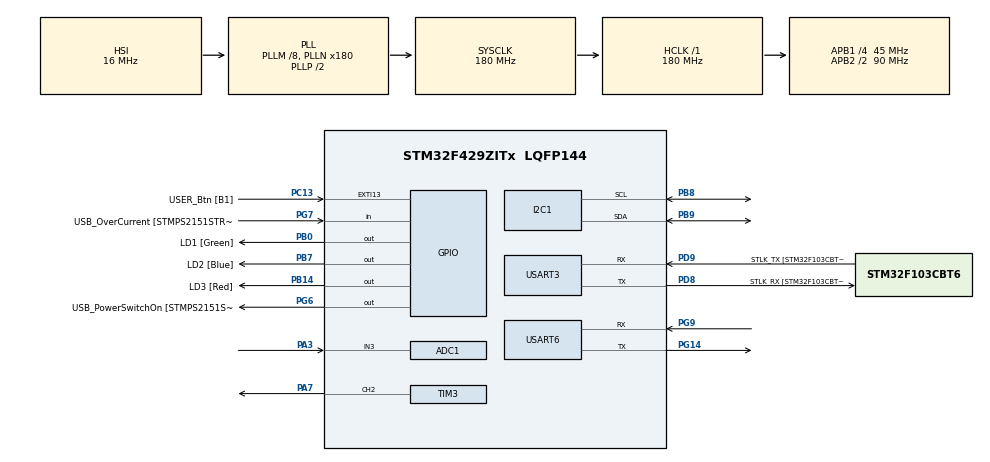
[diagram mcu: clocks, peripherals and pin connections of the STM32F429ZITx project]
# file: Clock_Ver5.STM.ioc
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ADC1.Channel-0\#ChannelRegularConversion=ADC_CHANNEL_3
ADC1.NbrOfConversionFlag=1
ADC1.Rank-0\#ChannelRegularConversion=1
ADC1.SamplingTime-0\#ChannelRegularConversion=ADC_SAMPLETIME_3CYCLES
ADC1.master=1
Mcu.Family=STM32F4
Mcu.Name=STM32F429ZITx
Mcu.Package=LQFP144
NVIC.EXTI15_10_IRQn=true\:0\:0\:false\:true\:true\:1\:true\:true\:true
NVIC.PriorityGroup=NVIC_PRIORITYGROUP_4
NVIC.TIM2_IRQn=true\:0\:0\:false\:true\:true\:2\:true\:true\:true
NVIC.TIM4_IRQn=true\:0\:0\:false\:true\:true\:3\:true\:true\:true
NVIC.USART3_IRQn=true\:0\:0\:false\:true\:true\:5\:true\:true\:true
NVIC.USART6_IRQn=true\:0\:0\:false\:true\:true\:4\:true\:true\:true
PA1.GPIO_Label=RMII_REF_CLK [LAN8742A-CZ-TR_REFCLK0]
PA1.Signal=ETH_REF_CLK
PA10.GPIO_Label=USB_ID
PA10.Signal=USB_OTG_FS_ID
PA11.GPIO_Label=USB_DM
PA11.Signal=USB_OTG_FS_DM
PA12.GPIO_Label=USB_DP
PA12.Signal=USB_OTG_FS_DP
PA13.GPIO_Label=TMS
PA13.Mode=Serial_Wire
PA13.Signal=SYS_JTMS-SWDIO
PA14.GPIO_Label=TCK
PA14.Mode=Serial_Wire
PA14.Signal=SYS_JTCK-SWCLK
PA2.GPIO_Label=RMII_MDIO [LAN8742A-CZ-TR_MDIO]
PA2.Signal=ETH_MDIO
PA3.Signal=ADCx_IN3
PA7.Signal=S_TIM3_CH2
PA8.GPIO_Label=USB_SOF [TP1]
PA8.Signal=USB_OTG_FS_SOF
PA9.GPIO_Label=USB_VBUS
PA9.Signal=USB_OTG_FS_VBUS
PB0.GPIO_Label=LD1 [Green]
PB0.Signal=GPIO_Output
PB13.GPIO_Label=RMII_TXD1 [LAN8742A-CZ-TR_TXD1]
PB13.Signal=ETH_TXD1
PB14.GPIO_Label=LD3 [Red]
PB14.Signal=GPIO_Output
PB7.GPIO_Label=LD2 [Blue]
PB7.Signal=GPIO_Output
PB8.GPIO_Pu=GPIO_PULLUP
PB8.Mode=I2C
PB8.Signal=I2C1_SCL
PB9.GPIO_Pu=GPIO_PULLUP
PB9.Mode=I2C
PB9.Signal=I2C1_SDA
PC1.GPIO_Label=RMII_MDC [LAN8742A-CZ-TR_MDC]
PC1.Signal=ETH_MDC
PC13.GPIO_Label=USER_Btn [B1]
PC13.Signal=GPXTI13
PC14/OSC32_IN.Mode=LSE-External-Oscillator
PC14/OSC32_IN.Signal=RCC_OSC32_IN
PC15/OSC32_OUT.Mode=LSE-External-Oscillator
PC15/OSC32_OUT.Signal=RCC_OSC32_OUT
PC4.GPIO_Label=RMII_RXD0 [LAN8742A-CZ-TR_RXD0]
PC4.Signal=ETH_RXD0
PC5.GPIO_Label=RMII_RXD1 [LAN8742A-CZ-TR_RXD1]
PC5.Signal=ETH_RXD1
PD8.GPIO_Label=STLK_RX [STM32F103CBT6_PA3]
PD8.Mode=Asynchronous
PD8.Signal=USART3_TX
PD9.GPIO_Label=STLK_TX [STM32F103CBT6_PA2]
PD9.Mode=Asynchronous
PD9.Signal=USART3_RX
PG11.GPIO_Label=RMII_TX_EN [LAN8742A-CZ-TR_TXEN]
PG11.Signal=ETH_TX_EN
PG13.GPIO_Label=RMII_TXD0 [LAN8742A-CZ-TR_TXD0]
PG13.Signal=ETH_TXD0
PG14.Mode=Asynchronous
PG14.Signal=USART6_TX
PG6.GPIO_Label=USB_PowerSwitchOn [STMPS2151STR_EN]
PG6.Signal=GPIO_Output
PG7.GPIO_Label=USB_OverCurrent [STMPS2151STR_FAULT]
PG7.Signal=GPIO_Input
PG9.Mode=Asynchronous
PG9.Signal=USART6_RX
PH0/OSC_IN.GPIO_Label=MCO [STM32F103CBT6_PA8]
PH0/OSC_IN.Mode=HSE-External-Clock-Source
PH0/OSC_IN.Signal=RCC_OSC_IN
PH1/OSC_OUT.Mode=HSE-External-Clock-Source
PH1/OSC_OUT.Signal=RCC_OSC_OUT
ProjectManager.HeapSize=0x200
ProjectManager.StackSize=0x400
ProjectManager.TargetToolchain=STM32CubeIDE
RCC.48MHZClocksFreq_Value=51428571.428571425
RCC.AHBFreq_Value=180000000
RCC.APB1CLKDivider=RCC_HCLK_DIV4
RCC.APB1Freq_Value=45000000
RCC.APB1TimFreq_Value=90000000
RCC.APB2CLKDivider=RCC_HCLK_DIV2
RCC.APB2Freq_Value=90000000
RCC.APB2TimCLKDivider=2
RCC.APB2TimFreq_Value=180000000
RCC.CortexFreq_Value=180000000
RCC.HCLKFreq_Value=180000000
RCC.HSE_VALUE=8000000
RCC.HSI_VALUE=16000000
RCC.PLLM=8
RCC.PLLMUL=RCC_PLL_MUL9
RCC.PLLN=180
RCC.PLLQ=7
RCC.PRESCALERUSB=RCC_USBCLKSOURCE_PLL_DIV1_5
RCC.RCC_RTC_Clock_Source=RCC_RTCCLKSOURCE_LSE
RCC.RCC_RTC_Clock_SourceVirtual=RCC_RTCCLKSOURCE_LSE
RCC.SYSCLKFreq_VALUE=180000000
RCC.SYSCLKSource=RCC_SYSCLKSOURCE_PLLCLK
RCC.SYSCLKSourceVirtual=RCC_SYSCLKSOURCE_PLLCLK
RCC.USBFreq_Value=48000000
RCC.VCOOutputFreq_Value=360000000
SH.ADCx_IN3.0=ADC1_IN3,IN3
SH.S_TIM3_CH2.0=TIM3_CH2,PWM Generation2 CH2
TIM2.Period=999
TIM2.Prescaler=899
TIM3.Channel-PWM\ Generation2\ CH2=TIM_CHANNEL_2
TIM3.Period=199
TIM3.Prescaler=89
TIM4.Period=199
TIM4.Prescaler=8999
USART3.VirtualMode=VM_ASYNC
USART6.VirtualMode=VM_ASYNC
VP_RTC_VS_RTC_Activate.Mode=RTC_Enabled
VP_TIM2_VS_ClockSourceINT.Mode=Internal
VP_TIM3_VS_ClockSourceINT.Mode=Internal
VP_TIM4_VS_ClockSourceINT.Mode=Internal
board=NUCLEO-F429ZI

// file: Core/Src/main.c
/* USER CODE BEGIN Header */
/**
  ******************************************************************************
  * @file           : main.c
  * @brief          : Main program body
  ******************************************************************************
  * @attention
  *
  * Copyright (c) 2022 STMicroelectronics.
  * All rights reserved.
  *
  * This software is licensed under terms that can be found in the LICENSE file
  * in the root directory of this software component.
  * If no LICENSE file comes with this software, it is provided AS-IS.
  *
  ******************************************************************************
  */
/* USER CODE END Header */
#include "main.h"
#include "adc.h"
#include "i2c.h"
#include "rtc.h"
#include "tim.h"
#include "usart.h"
#include "gpio.h"

/* USER CODE BEGIN Includes */
#include "lcd.h"
#include <string.h>
#include <stdio.h>
/* USER CODE END Includes */

/* USER CODE BEGIN PTD */
typedef struct{
	uint16_t music_scale;
	uint16_t note_duration;
}MelTypeDef;
/* USER CODE END PTD */

/* USER CODE BEGIN PD */
#define UP_KEY_MIN  0
#define UP_KEY_MAX 100

#define DOWN_KEY_MIN 800
#define DOWN_KEY_MAX 900

#define RIGHT_KEY_MIN 2900
#define RIGHT_KEY_MAX 3100

#define LEFT_KEY_MIN 1900
#define LEFT_KEY_MAX 2000

#define LONG_CLICK_MIN 1500
#define LONG_CLICK_MAX 5000

#define DOUBLE_CLICK_MIN 50
#define DOUBLE_CLICK_MAX 150

#define C	262
#define D	294
#define E	330
#define F	349
#define G	392
#define A	440
#define B	494
#define C1	523
#define D1	587
#define E1	659

#define MEL_NUM 55

enum CLOCK_MODE{
	NORMAL_STATE = 0,
	TIME_SETTING = 1,
	ALARM_TIME_SETTING = 2,
	MUSIC_SELECT = 3
};

enum CLOCK_BUTTON{
	NONE = 0,
	UP = 1,
	DOWN = 2,
	RIGHT = 3,
	LEFT = 4,
	SEL = 5
};

/*
MelTypeDef JackRabbit[MEL_NUM] = {
		(G, 2), (E, 1), (E, 1), (G, 1), (E, 1), (C, 2), // 6
        (D, 2), (E, 1), (D, 1), (C, 1), (E, 1), (G, 2), // 6
		(C1, 1), (G, 1), (C1, 1), (G, 1), (C1, 1), (G, 1), (E, 2), //7
		(G, 2), (D, 1), (F, 1), (E, 1), (D, 1), (C, 2)
};*/
MelTypeDef btype;
MelTypeDef ctype;

struct clock_state{
	enum CLOCK_MODE mode;
	enum CLOCK_BUTTON button;
	int8_t music_num;
};

struct clock_state current_state;

typedef struct {
	int8_t ampm;
	int8_t hours;
	int8_t minutes;
	int8_t seconds;
}TimeTypeDef;

TimeTypeDef ctime;  // current time
TimeTypeDef stime; // setting time
TimeTypeDef atime;  // alarm time

typedef struct {
  int8_t music_num;
  char music_title[16];
}MusicTypeDef;

MusicTypeDef alarm_music[] =
{
		{0,"Jack_Rabbit"},
		{1,"Carol_Jazz"},
		{2,"Big_Mac_Song"},
};

/* Base address of the Flash sectors Bank 1 */
#define ADDR_FLASH_SECTOR_0     ((uint32_t)0x08000000) /* Base @ of Sector 0, 16 Kbytes */
#define ADDR_FLASH_SECTOR_1     ((uint32_t)0x08004000) /* Base @ of Sector 1, 16 Kbytes */
#define ADDR_FLASH_SECTOR_2     ((uint32_t)0x08008000) /* Base @ of Sector 2, 16 Kbytes */
#define ADDR_FLASH_SECTOR_3     ((uint32_t)0x0800C000) /* Base @ of Sector 3, 16 Kbytes */
#define ADDR_FLASH_SECTOR_4     ((uint32_t)0x08010000) /* Base @ of Sector 4, 64 Kbytes */
#define ADDR_FLASH_SECTOR_5     ((uint32_t)0x08020000) /* Base @ of Sector 5, 128 Kbytes */
#define ADDR_FLASH_SECTOR_6     ((uint32_t)0x08040000) /* Base @ of Sector 6, 128 Kbytes */
#define ADDR_FLASH_SECTOR_7     ((uint32_t)0x08060000) /* Base @ of Sector 7, 128 Kbytes */
#define ADDR_FLASH_SECTOR_8     ((uint32_t)0x08080000) /* Base @ of Sector 8, 128 Kbytes */
#define ADDR_FLASH_SECTOR_9     ((uint32_t)0x080A0000) /* Base @ of Sector 9, 128 Kbytes */
#define ADDR_FLASH_SECTOR_10    ((uint32_t)0x080C0000) /* Base @ of Sector 10, 128 Kbytes */
#define ADDR_FLASH_SECTOR_11    ((uint32_t)0x080E0000) /* Base @ of Sector 11, 128 Kbytes */

/* Base address of the Flash sectors Bank 2 */
#define ADDR_FLASH_SECTOR_12     ((uint32_t)0x08100000) /* Base @ of Sector 0, 16 Kbytes */
#define ADDR_FLASH_SECTOR_13     ((uint32_t)0x08104000) /* Base @ of Sector 1, 16 Kbytes */
#define ADDR_FLASH_SECTOR_14     ((uint32_t)0x08108000) /* Base @ of Sector 2, 16 Kbytes */
#define ADDR_FLASH_SECTOR_15     ((uint32_t)0x0810C000) /* Base @ of Sector 3, 16 Kbytes */
#define ADDR_FLASH_SECTOR_16     ((uint32_t)0x08110000) /* Base @ of Sector 4, 64 Kbytes */
#define ADDR_FLASH_SECTOR_17     ((uint32_t)0x08120000) /* Base @ of Sector 5, 128 Kbytes */
#define ADDR_FLASH_SECTOR_18     ((uint32_t)0x08140000) /* Base @ of Sector 6, 128 Kbytes */
#define ADDR_FLASH_SECTOR_19     ((uint32_t)0x08160000) /* Base @ of Sector 7, 128 Kbytes */
#define ADDR_FLASH_SECTOR_20     ((uint32_t)0x08180000) /* Base @ of Sector 8, 128 Kbytes  */
#define ADDR_FLASH_SECTOR_21     ((uint32_t)0x081A0000) /* Base @ of Sector 9, 128 Kbytes  */
#define ADDR_FLASH_SECTOR_22     ((uint32_t)0x081C0000) /* Base @ of Sector 10, 128 Kbytes */
#define ADDR_FLASH_SECTOR_23     ((uint32_t)0x081E0000) /* Base @ of Sector 11, 128 Kbytes */

//#define MAGIC_NUM 0xdeadbeef

typedef struct {
  //uint32_t magic_num;
  TimeTypeDef setting_time;
  TimeTypeDef alarm_time;
  int8_t alarm_music_num;
}NVitemTypeDef;

typedef struct{
	int32_t time;
	GPIO_PinState level;
}ClickInfoDef;

ClickInfoDef click[3];

//#define nv_items  ((NVitemTypeDef *) ADDR_FLASH_SECTOR_3)

NVitemTypeDef default_nvitem =
{
  //MAGIC_NUM,
  {0, 0,0,0},
  {0, 0,0,0},
  0
};
/* USER CODE END PD */

/* USER CODE BEGIN PV */
//ADC_HandleTypeDef hadc1;
//RTC_HandleTypeDef hrtc;
//TIM_HandleTypeDef htim2;
//UART_HandleTypeDef huart6;
/* USER CODE END PV */

void SystemClock_Config(void);
static void MX_NVIC_Init(void);
/* USER CODE BEGIN PFP */
void time_display(void);
void music_select(char str[18]);
void adc_rcv(void);
void clock_set(TimeTypeDef * time);
void blink(TimeTypeDef * time, char str[18]);
void time_set(TimeTypeDef * time, char str[18]);
void flash_read(void);
HAL_StatusTypeDef flash_write1(uint32_t start, uint32_t end, TimeTypeDef * time);
HAL_StatusTypeDef flash_write2(uint32_t start, uint32_t end, uint16_t Melody[]);
static uint32_t GetSector(uint32_t Address);
static uint32_t GetSectorSize(uint32_t Sector);
/* USER CODE END PFP */

/* USER CODE BEGIN 0 */
uint8_t alFlag = 0, muFlag = 0;

HAL_StatusTypeDef flash_write1(uint32_t start, uint32_t end, TimeTypeDef * time)
{
	uint32_t FirstSector,NbOfSectors,SECTORError;
	FLASH_EraseInitTypeDef EraseInitStruct;
	HAL_StatusTypeDef error= HAL_OK;
    //uint8_t *ptr;
    //__IO uint32_t MemoryProgramStatus;

	HAL_FLASH_Unlock();
	FirstSector = GetSector(start);//ADDR_FLASH_SECTOR_3;
	NbOfSectors = GetSector(end) - FirstSector + 1;

	EraseInitStruct.TypeErase     = FLASH_TYPEERASE_SECTORS;
	EraseInitStruct.VoltageRange  = FLASH_VOLTAGE_RANGE_3;
	EraseInitStruct.Sector        = FirstSector;
	EraseInitStruct.NbSectors     = NbOfSectors;

	error = HAL_FLASHEx_Erase(&EraseInitStruct, &SECTORError);
	if(error != HAL_OK) return error;

	//if (current_state.mode == TIME_SETTING)
	//{
	//	HAL_FLASH_Program(FLASH_TYPEPROGRAM_WORD, start, time->ampm);
	//	HAL_FLASH_Program(FLASH_TYPEPROGRAM_WORD, start+4, time->hours);
	//	HAL_FLASH_Program(FLASH_TYPEPROGRAM_WORD, start+8, time->minutes);
	//	HAL_FLASH_Program(FLASH_TYPEPROGRAM_WORD, start+12, time->seconds);
	//}

	else if (current_state.mode == ALARM_TIME_SETTING)
	{
		HAL_FLASH_Program(FLASH_TYPEPROGRAM_BYTE, start+16, time->ampm);
		HAL_FLASH_Program(FLASH_TYPEPROGRAM_WORD, start+20, time->hours);
		HAL_FLASH_Program(FLASH_TYPEPROGRAM_WORD, start+24, time->minutes);
		HAL_FLASH_Program(FLASH_TYPEPROGRAM_WORD, start+28, time->seconds);
	}

	else
	{
		//HAL_FLASH_Program(FLASH_TYPEPROGRAM_WORD, start, time->ampm);
		//HAL_FLASH_Program(FLASH_TYPEPROGRAM_WORD, start+4, time->hours);
		//HAL_FLASH_Program(FLASH_TYPEPROGRAM_WORD, start+8, time->minutes);
		//HAL_FLASH_Program(FLASH_TYPEPROGRAM_WORD, start+12, time->seconds);
		HAL_FLASH_Program(FLASH_TYPEPROGRAM_WORD, start, default_nvitem.setting_time.ampm);
		HAL_FLASH_Program(FLASH_TYPEPROGRAM_WORD, start+4, default_nvitem.setting_time.hours);
		HAL_FLASH_Program(FLASH_TYPEPROGRAM_WORD, start+8, default_nvitem.setting_time.minutes);
		HAL_FLASH_Program(FLASH_TYPEPROGRAM_WORD, start+12, default_nvitem.setting_time.seconds);
	}

	HAL_FLASH_Lock();

	return 0;
}

HAL_StatusTypeDef flash_write2(uint32_t start, uint32_t end, uint16_t Melody[])
{
	uint32_t FirstSector,NbOfSectors,SECTORError;
	FLASH_EraseInitTypeDef EraseInitStruct;
	HAL_StatusTypeDef error= HAL_OK;

	HAL_FLASH_Unlock();
	FirstSector = GetSector(start);
	/* Get the number of sector to erase from 1st sector*/
	NbOfSectors =  1;
	/* Fill EraseInit structure*/
	EraseInitStruct.TypeErase     = FLASH_TYPEERASE_SECTORS;
	EraseInitStruct.VoltageRange  = FLASH_VOLTAGE_RANGE_3;
	EraseInitStruct.Sector        = FirstSector;
	EraseInitStruct.NbSectors     = NbOfSectors;

	error = HAL_FLASHEx_Erase(&EraseInitStruct, &SECTORError);
	if(error != HAL_OK) return error;

	for(int i = 0 ; Melody[i] != 0 ; i++)
	{
		HAL_FLASH_Program(FLASH_TYPEPROGRAM_WORD, start, Melody[i]);
		start += 4;
	}

	HAL_FLASH_Lock();

	return 0;
}

static uint32_t GetSector(uint32_t Address)
{
  uint32_t sector = 0;

  if((Address < ADDR_FLASH_SECTOR_1) && (Address >= ADDR_FLASH_SECTOR_0))
  {
    sector = FLASH_SECTOR_0;
  }
  else if((Address < ADDR_FLASH_SECTOR_2) && (Address >= ADDR_FLASH_SECTOR_1))
  {
    sector = FLASH_SECTOR_1;
  }
  else if((Address < ADDR_FLASH_SECTOR_3) && (Address >= ADDR_FLASH_SECTOR_2))
  {
    sector = FLASH_SECTOR_2;
  }
  else if((Address < ADDR_FLASH_SECTOR_4) && (Address >= ADDR_FLASH_SECTOR_3))
  {
    sector = FLASH_SECTOR_3;
  }
  else if((Address < ADDR_FLASH_SECTOR_5) && (Address >= ADDR_FLASH_SECTOR_4))
  {
    sector = FLASH_SECTOR_4;
  }
  else if((Address < ADDR_FLASH_SECTOR_6) && (Address >= ADDR_FLASH_SECTOR_5))
  {
    sector = FLASH_SECTOR_5;
  }
  else if((Address < ADDR_FLASH_SECTOR_7) && (Address >= ADDR_FLASH_SECTOR_6))
  {
    sector = FLASH_SECTOR_6;
  }
  else if((Address < ADDR_FLASH_SECTOR_8) && (Address >= ADDR_FLASH_SECTOR_7))
  {
    sector = FLASH_SECTOR_7;
  }
  else if((Address < ADDR_FLASH_SECTOR_9) && (Address >= ADDR_FLASH_SECTOR_8))
  {
    sector = FLASH_SECTOR_8;
  }
  else if((Address < ADDR_FLASH_SECTOR_10) && (Address >= ADDR_FLASH_SECTOR_9))
  {
    sector = FLASH_SECTOR_9;
  }
  else if((Address < ADDR_FLASH_SECTOR_11) && (Address >= ADDR_FLASH_SECTOR_10))
  {
    sector = FLASH_SECTOR_10;
  }
  else if((Address < ADDR_FLASH_SECTOR_12) && (Address >= ADDR_FLASH_SECTOR_11))
  {
    sector = FLASH_SECTOR_11;
  }
  else if((Address < ADDR_FLASH_SECTOR_13) && (Address >= ADDR_FLASH_SECTOR_12))
  {
    sector = FLASH_SECTOR_12;
  }
  else if((Address < ADDR_FLASH_SECTOR_14) && (Address >= ADDR_FLASH_SECTOR_13))
  {
    sector = FLASH_SECTOR_13;
  }
  else if((Address < ADDR_FLASH_SECTOR_15) && (Address >= ADDR_FLASH_SECTOR_14))
  {
    sector = FLASH_SECTOR_14;
  }
  else if((Address < ADDR_FLASH_SECTOR_16) && (Address >= ADDR_FLASH_SECTOR_15))
  {
    sector = FLASH_SECTOR_15;
  }
  else if((Address < ADDR_FLASH_SECTOR_17) && (Address >= ADDR_FLASH_SECTOR_16))
  {
    sector = FLASH_SECTOR_16;
  }
  else if((Address < ADDR_FLASH_SECTOR_18) && (Address >= ADDR_FLASH_SECTOR_17))
  {
    sector = FLASH_SECTOR_17;
  }
  else if((Address < ADDR_FLASH_SECTOR_19) && (Address >= ADDR_FLASH_SECTOR_18))
  {
    sector = FLASH_SECTOR_18;
  }
  else if((Address < ADDR_FLASH_SECTOR_20) && (Address >= ADDR_FLASH_SECTOR_19))
  {
    sector = FLASH_SECTOR_19;
  }
  else if((Address < ADDR_FLASH_SECTOR_21) && (Address >= ADDR_FLASH_SECTOR_20))
  {
    sector = FLASH_SECTOR_20;
  }
  else if((Address < ADDR_FLASH_SECTOR_22) && (Address >= ADDR_FLASH_SECTOR_21))
  {
    sector = FLASH_SECTOR_21;
  }
  else if((Address < ADDR_FLASH_SECTOR_23) && (Address >= ADDR_FLASH_SECTOR_22))
  {
    sector = FLASH_SECTOR_22;
  }
  else /* (Address < FLASH_END_ADDR) && (Address >= ADDR_FLASH_SECTOR_23) */
  {
    sector = FLASH_SECTOR_23;
  }
  return sector;
}

/**
  * @brief  Gets sector Size
  * @param  None
  * @retval The size of a given sector
  */
static uint32_t GetSectorSize(uint32_t Sector)
{
  uint32_t sectorsize = 0x00;
  if((Sector == FLASH_SECTOR_0) || (Sector == FLASH_SECTOR_1) || (Sector == FLASH_SECTOR_2) ||\
     (Sector == FLASH_SECTOR_3) || (Sector == FLASH_SECTOR_12) || (Sector == FLASH_SECTOR_13) ||\
     (Sector == FLASH_SECTOR_14) || (Sector == FLASH_SECTOR_15))
  {
    sectorsize = 16 * 1024;
  }
  else if((Sector == FLASH_SECTOR_4) || (Sector == FLASH_SECTOR_16))
  {
    sectorsize = 64 * 1024;
  }
  else
  {
    sectorsize = 128 * 1024;
  }
  return sectorsize;
}

volatile int timer_count,second,minute,hour,old_count;
char line[2][18], time_str[16];
uint32_t adc_value;
uint8_t btn_value;
volatile static uint8_t pos;
char uart_buf[30];

void clock_set(TimeTypeDef * time)
{
	if(time->seconds>=60)
	{
		time->minutes++;
		time->seconds = 0;
	}

	else if(time->minutes>=60)
	{
		time->hours++;
		time->minutes = 0;
	}

	else if(time->hours==13)
	{
		time->hours = 1;
		if (time->ampm == 0) time->ampm++;
		else if (time->ampm == 1) time->ampm--;
	}
}

void blink(TimeTypeDef * time, char str[18])
{
	static int blink_flag;
	static volatile int blink_count;
	uint8_t ampm = time->ampm;
	uint8_t hours = time->hours;
	uint8_t minutes = time->minutes;
	uint8_t seconds = time->seconds;

	if (timer_count - blink_count > 50)
	{
		if (blink_flag == 0) blink_flag++;
		else if (blink_flag == 1) blink_flag--;
		blink_count = timer_count;
	}

	if (blink_flag == 0)
	{
		if (ampm == 0) sprintf(str,"AM %02d:%02d:%02d", hours,minutes,seconds);
		else if (ampm == 1) sprintf(str,"PM %02d:%02d:%02d", hours,minutes,seconds);
	}

	else if (blink_flag == 1)
	{
		if (pos == 0) sprintf(str,"__ %02d:%02d:%02d", hours,minutes,seconds);
		else if (pos == 1)
		{
			if (ampm == 0) sprintf(str,"AM __:%02d:%02d", minutes,seconds);
			else if (ampm == 1) sprintf(str,"PM __:%02d:%02d", minutes,seconds);
		}
		else if (pos == 2)
		{
			if (ampm == 0) sprintf(str,"AM %02d:__:%02d", hours,seconds);
			else if (ampm == 0) sprintf(str,"PM %02d:__:%02d", hours,seconds);
		}
		else if (pos == 3)
		{
			if (ampm == 0) sprintf(str,"AM %02d:%02d:__", hours,minutes);
			else if (ampm == 0) sprintf(str,"PM %02d:%02d:__", hours,minutes);
		}
	}

	if (current_state.mode == ALARM_TIME_SETTING)
		strcat(str," AL");
	else strcat(str,"   ");
}

void time_set(TimeTypeDef * time, char str[18])
{
	if(pos == 0)
	{
		switch(current_state.button)
		{
		case RIGHT:
			pos++;
			break;
		case UP:
			if(time->ampm == 0)
				time->ampm++;
			else if (time->ampm == 1)
				time->ampm--;
			break;
		case DOWN:
			if(time->ampm == 0)
				time->ampm++;
			else if (time->ampm == 1)
				time->ampm--;
			break;
		default:
			break;
		}
	}

	else if (pos == 1)
	{
		switch(current_state.button)
		{
		case RIGHT:
			pos++;
			break;
		case LEFT:
			pos--;
			break;
		case UP:
			time->hours++;
			if(time->hours>12)
				time->hours = 1;
			break;
		case DOWN:
			time->hours--;
			if(time->hours<0)
				time->hours = 12;
			break;
		default:
			break;
		}
	}

	else if (pos == 2)
	{
		switch(current_state.button)
		{
		case RIGHT:
			pos++;
			break;
		case LEFT:
			pos--;
			break;
		case UP:
			time->minutes++;
			if(time->minutes>=60)
				time->minutes = 0;
			break;
		case DOWN:
			time->minutes--;
			if(time->minutes<0)
				time->minutes = 59;
			break;
		default:
			break;
		}
	}

	else if(pos == 3)
	{
		switch(current_state.button)
		{
		case RIGHT:
			pos = 0;

			if (current_state.mode == TIME_SETTING)
			{
				default_nvitem.setting_time.ampm = time->ampm;
				default_nvitem.setting_time.hours = time->hours;
				default_nvitem.setting_time.minutes = time->minutes;
				default_nvitem.setting_time.seconds = time->seconds;
				flash_write1(ADDR_FLASH_SECTOR_13, ADDR_FLASH_SECTOR_14, time);
			}
			else if(current_state.mode == ALARM_TIME_SETTING)
			{
				default_nvitem.alarm_time.ampm = time->ampm;
				default_nvitem.alarm_time.hours = time->hours;
				default_nvitem.alarm_time.minutes = time->minutes;
				default_nvitem.alarm_time.seconds = time->seconds;
				flash_write1(ADDR_FLASH_SECTOR_3, ADDR_FLASH_SECTOR_4, time);
			}
			current_state.mode = NORMAL_STATE;
			break;
		case LEFT:
			pos--;
			break;
		case UP:
			time->seconds++;
			if(time->seconds>=60)
				time->seconds = 0;
			break;
		case DOWN:
			time->seconds--;
			if(time->seconds<0)
				time->seconds = 59;
			break;
		default:
			break;
		}
	}

	blink(time, str);
}

void flash_read(void)
{
	current_state.mode = NORMAL_STATE;
	current_state.button = NONE;
	current_state.music_num = 0;

	//memcpy(&default_nvitem,nv_items,sizeof(NVitemTypeDef));
	stime.ampm = *((uint32_t*)0x08104000);
	stime.hours = *((uint32_t*)0x08104004);
	stime.minutes = *((uint32_t*)0x08104008);
	stime.seconds = *((uint32_t*)0x0810400C);

	ctime.ampm = stime.ampm;
	ctime.hours = stime.hours;
	ctime.minutes = stime.minutes;
	ctime.seconds = stime.seconds;

	atime.ampm = *((uint32_t*)0x0800C000);
	atime.hours = *((uint32_t*)0x0800C004);
	//atime.hours = *((uint32_t*)0x0810400K);
	atime.minutes = *((uint32_t*)0x0800C008);
	atime.seconds = *((uint32_t*)0x0800C00C);
}

void HAL_TIM_PeriodElapsedCallback(TIM_HandleTypeDef *htim)
{
	if(htim->Instance==TIM2)
	{
		if((timer_count%100)==0)
		{
			ctime.seconds++;
			clock_set(&ctime);
		}
		timer_count++;
		if (timer_count % 10 == 0 && timer_count != 0)
			old_count = timer_count;
	}
}

void adc_rcv(void)
{
	HAL_ADC_Start(&hadc1);
	if(HAL_ADC_PollForConversion(&hadc1,20) == HAL_OK) adc_value = HAL_ADC_GetValue(&hadc1);

	if (adc_value <= UP_KEY_MAX || btn_value == 1)
	{
		current_state.button = UP;
		btn_value = 0;
	}
	else if ((adc_value>= DOWN_KEY_MIN && adc_value<=DOWN_KEY_MAX) || btn_value == 2)
	{
		current_state.button = DOWN;
		btn_value = 0;
	}
	else if ((adc_value>= LEFT_KEY_MIN && adc_value<=LEFT_KEY_MAX) || btn_value == 4)
	{
		current_state.button = LEFT;
		btn_value = 0;
	}
	else if ((adc_value>= RIGHT_KEY_MIN && adc_value<=RIGHT_KEY_MAX) || btn_value == 3)
	{
		current_state.button = RIGHT;
		btn_value = 0;
	}
	else
	{
		current_state.button = NONE;
	}
}

void time_display(void)
{
	memset(line,0,sizeof(line));

	if(current_state.mode == NORMAL_STATE)
	{
		sprintf(line[0],"Korea Polytech");
		if (ctime.ampm == 0) sprintf(line[1],"AM %02d:%02d:%02d", ctime.hours, ctime.minutes, ctime.seconds);
		else if (ctime.ampm == 1) sprintf(line[1],"PM %02d:%02d:%02d", ctime.hours, ctime.minutes, ctime.seconds);
		if (timer_count - old_count == 10)
			flash_write1(ADDR_FLASH_SECTOR_13, ADDR_FLASH_SECTOR_14, &ctime);
	}
	else if(current_state.mode == TIME_SETTING)
	{
		sprintf(line[0],"Time Setting  ");
		time_set(&stime, line[1]);
		ctime.ampm = default_nvitem.setting_time.ampm;
		ctime.hours = default_nvitem.setting_time.hours;
		ctime.minutes = default_nvitem.setting_time.minutes;
		ctime.seconds = default_nvitem.setting_time.seconds;
	}
	else if(current_state.mode == ALARM_TIME_SETTING)
	{
		sprintf(line[0],"Alarm Setting ");
		time_set(&atime, line[1]);
	}
	else if (current_state.mode == MUSIC_SELECT)
	{
		sprintf(line[0],"Music Setting ");
		music_select(line[1]);
	}

	LCDPrint(0, line[0]);
	LCDPrint(1, line[1]);
}

uint32_t last_time,current_time,time_interval, last_time_interval;

void HAL_UART_RxCpltCallback(UART_HandleTypeDef *huart)
{
  if (huart->Instance == USART6)
  {
	  HAL_UART_Receive_IT(&huart6, &btn_value, 1);
  }
}

void music_select(char str[18])
{
  int pos2, count;

  pos2 = current_state.music_num;
  count = sizeof(alarm_music)/sizeof(alarm_music[0]);  //total music count

  switch(current_state.button)
  {
    case UP:
    	pos2++;
    	if(pos2==count)
    	{
          pos2 =0;
    	}
    	break;
    case DOWN:
    	pos2--;
    	if(pos2 < 0)
    	{
          pos2 =count-1;
    	}
    	break;
    default:
    	break;
  }
  current_state.music_num =  pos;

  memset(str,0,sizeof(str));
  if(pos2 == 0)
  {
    sprintf(str, "1. Jack Rabbit <<");
    if(muFlag == 1)
    {
    	sprintf(str, "Mel1 Selected!\r\n");
    	//Memory1(ADDR_FLASH_SECTOR_14,ADDR_FLASH_SECTOR_15,melody1);
    	//Memory1(ADDR_FLASH_SECTOR_15,ADDR_FLASH_SECTOR_16,noteDurations1);
    }
  }
  else if(pos == 1)
  {
	  sprintf(str, "2. Carol Jazz <<");
	  if(muFlag == 1)
	  {
		  sprintf(str, "Mel2 Selected!  ");
		  //Memory1(ADDR_FLASH_SECTOR_14,ADDR_FLASH_SECTOR_15,melody1);
		  //Memory1(ADDR_FLASH_SECTOR_15,ADDR_FLASH_SECTOR_16,noteDurations1);
	  }
  }
  else if(pos == 2)
  {
	  sprintf(str, "3. Big Mac Song <<");
  	  if(muFlag == 1)
  	  {
  		  sprintf(str, "Mel3 Selected!  ");
  		  //Memory1(ADDR_FLASH_SECTOR_14,ADDR_FLASH_SECTOR_15,melody1);
  		  //Memory1(ADDR_FLASH_SECTOR_15,ADDR_FLASH_SECTOR_16,noteDurations1);
  	  }
  }
}

void HAL_GPIO_EXTI_Callback(uint16_t GPIO_Pin)
{
	GPIO_PinState pin;
	int i;

	if (GPIO_Pin == GPIO_PIN_11)
	{
		current_time = HAL_GetTick();
		time_interval = current_time - last_time;
		last_time = current_time;

		pin = HAL_GPIO_ReadPin(GPIOD, GPIO_PIN_11);
		//pin = HAL_GPIO_ReadPin(GPIOC, GPIO_PIN_13);

		if (time_interval <= 2)
		{
		}

		else
		{
			click[2].time = click[1].time;
			click[2].level = click[1].level;

			click[1].time = click[0].time;
			click[1].level = click[0].level;

			click[0].time = time_interval;
			click[0].level = pin;

			if(click[2].level ==GPIO_PIN_RESET && click[1].level == GPIO_PIN_SET &&  click[0].level ==GPIO_PIN_RESET)
			{
				for(i=0;i<3;i++)
				{
					if(click[i].time>= DOUBLE_CLICK_MIN && click[i].time <= DOUBLE_CLICK_MAX)
						continue;
					else break;
				}
				if(i==3)
				{
					if(current_state.mode == NORMAL_STATE)
					{
						current_state.mode = MUSIC_SELECT;
						btn_value = SEL;
					}
					else if(current_state.mode == MUSIC_SELECT)
					{
						btn_value = SEL;
						if(muFlag == 0) muFlag = 1;
					}
					else if(current_state.mode == ALARM_TIME_SETTING)
					{
						if(alFlag == 0)	alFlag = 1;
						else if(alFlag == 1) alFlag = 0;
					}
				}
			}

			if(click[0].level == GPIO_PIN_RESET && click[0].time >=LONG_CLICK_MIN && click[0].time <=LONG_CLICK_MAX)
			{
				if(current_state.mode == NORMAL_STATE)
				{
					btn_value = SEL;
					alFlag = 1;
					current_state.mode = ALARM_TIME_SETTING;
				}
				else if(current_state.mode == TIME_SETTING)
				{
					current_state.mode = NORMAL_STATE;
				}
			}

			else if(click[0].level == GPIO_PIN_RESET && click[0].time < LONG_CLICK_MIN && click[0].time > DOUBLE_CLICK_MAX)
			{
				if(current_state.mode == NORMAL_STATE)
				{
					current_state.mode = TIME_SETTING;
					btn_value = SEL;
				}
			}
		}
	}
}
/* USER CODE END 0 */

int main(void)
{

  /* MCU Configuration--------------------------------------------------------*/

  /* Reset of all peripherals, Initializes the Flash interface and the Systick. */
  HAL_Init();

  /* Configure the system clock */
  SystemClock_Config();

  /* Initialize all configured peripherals */
  MX_GPIO_Init();
  MX_USART3_UART_Init();
  MX_ADC1_Init();
  MX_RTC_Init();
  MX_USART6_UART_Init();
  MX_I2C1_Init();
  MX_TIM2_Init();
  MX_TIM3_Init();
  MX_TIM4_Init();

  /* Initialize interrupts */
  MX_NVIC_Init();
  /* USER CODE BEGIN 2 */
  init();
  HAL_TIM_Base_Init(&htim2);
  HAL_TIM_Base_Start_IT(&htim2);
  HAL_UART_Receive_IT(&huart6, &btn_value, 1);

  flash_read();
  /* USER CODE END 2 */

  /* Infinite loop */
  while (1)
  {

    /* USER CODE BEGIN 3 */
	  adc_rcv();
	  time_display();
  }
  /* USER CODE END 3 */
}

void SystemClock_Config(void)
{
  RCC_OscInitTypeDef RCC_OscInitStruct = {0};
  RCC_ClkInitTypeDef RCC_ClkInitStruct = {0};

  /** Configure the main internal regulator output voltage
  */
  __HAL_RCC_PWR_CLK_ENABLE();
  __HAL_PWR_VOLTAGESCALING_CONFIG(PWR_REGULATOR_VOLTAGE_SCALE1);

  /** Initializes the RCC Oscillators according to the specified parameters
  * in the RCC_OscInitTypeDef structure.
  */
  RCC_OscInitStruct.OscillatorType = RCC_OSCILLATORTYPE_HSI|RCC_OSCILLATORTYPE_LSE;
  RCC_OscInitStruct.LSEState = RCC_LSE_ON;
  RCC_OscInitStruct.HSIState = RCC_HSI_ON;
  RCC_OscInitStruct.HSICalibrationValue = RCC_HSICALIBRATION_DEFAULT;
  RCC_OscInitStruct.PLL.PLLState = RCC_PLL_ON;
  RCC_OscInitStruct.PLL.PLLSource = RCC_PLLSOURCE_HSI;
  RCC_OscInitStruct.PLL.PLLM = 8;
  RCC_OscInitStruct.PLL.PLLN = 180;
  RCC_OscInitStruct.PLL.PLLP = RCC_PLLP_DIV2;
  RCC_OscInitStruct.PLL.PLLQ = 7;
  if (HAL_RCC_OscConfig(&RCC_OscInitStruct) != HAL_OK)
  {
    Error_Handler();
  }

  /** Activate the Over-Drive mode
  */
  if (HAL_PWREx_EnableOverDrive() != HAL_OK)
  {
    Error_Handler();
  }

  /** Initializes the CPU, AHB and APB buses clocks
  */
  RCC_ClkInitStruct.ClockType = RCC_CLOCKTYPE_HCLK|RCC_CLOCKTYPE_SYSCLK
                              |RCC_CLOCKTYPE_PCLK1|RCC_CLOCKTYPE_PCLK2;
  RCC_ClkInitStruct.SYSCLKSource = RCC_SYSCLKSOURCE_PLLCLK;
  RCC_ClkInitStruct.AHBCLKDivider = RCC_SYSCLK_DIV1;
  RCC_ClkInitStruct.APB1CLKDivider = RCC_HCLK_DIV4;
  RCC_ClkInitStruct.APB2CLKDivider = RCC_HCLK_DIV2;

  if (HAL_RCC_ClockConfig(&RCC_ClkInitStruct, FLASH_LATENCY_5) != HAL_OK)
  {
    Error_Handler();
  }
}

/**
  * @brief NVIC Configuration.
  * @retval None
  */
static void MX_NVIC_Init(void)
{
  /* EXTI15_10_IRQn interrupt configuration */
  HAL_NVIC_SetPriority(EXTI15_10_IRQn, 0, 0);
  HAL_NVIC_EnableIRQ(EXTI15_10_IRQn);
  /* TIM2_IRQn interrupt configuration */
  HAL_NVIC_SetPriority(TIM2_IRQn, 0, 0);
  HAL_NVIC_EnableIRQ(TIM2_IRQn);
  /* TIM4_IRQn interrupt configuration */
  HAL_NVIC_SetPriority(TIM4_IRQn, 0, 0);
  HAL_NVIC_EnableIRQ(TIM4_IRQn);
  /* USART6_IRQn interrupt configuration */
  HAL_NVIC_SetPriority(USART6_IRQn, 0, 0);
  HAL_NVIC_EnableIRQ(USART6_IRQn);
  /* USART3_IRQn interrupt configuration */
  HAL_NVIC_SetPriority(USART3_IRQn, 0, 0);
  HAL_NVIC_EnableIRQ(USART3_IRQn);
}

void Error_Handler(void)
{
  __disable_irq();
  while (1)
  {
  }
}
